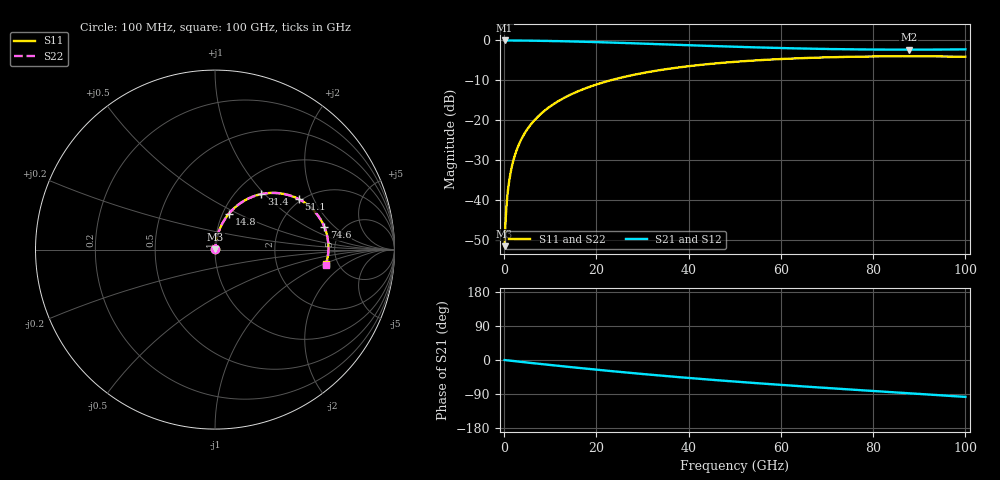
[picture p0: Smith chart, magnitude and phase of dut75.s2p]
! Touchstone file exported from HFSS 2026.1.0
!  File:  C:/ffzhzh/LocalFiles/Ansys_Project_Files/temp_train_RDL_75_1783498704_9504.aedt
!  Generated:  04:19:38 PM Jul  8, 2026
!  Design:  RDL
!  Project:  temp_train_RDL_75_1783498704_9504
! Variables:
!  h_bsmrdl = 2um
!  h_ox = 20um
!  h_rdl = 5um
!  h_sub = 80um
!  h_tmrdl = 4.55um
!  h_tsv = 80um
!  h_via = 3um
!  l_bsmrdl = 300um
!  l_sub = 729.2um
!  l_tmrdl = 329.2um
!  m_sub = 200um
!  pitch = 41.23um
!  r_tsv = 6um
!  s_tmrdl = 10um
!  w_bsmrdl = 18um
!  w_sub = 500um
!  w_tmrdl = 13.01um
!  x_tsv_center1 = 335.705um
!  x_tsv_center2 = 653.705um
!  x_tsv_center3 = 995.915um
!  x_tsv_center4 = 1313.915um
!  x_tsv_center5 = 1656.125um
!  x_tsv_center6 = 1974.125um
# GHz S MA R 50.000000
! Terminal data exported
! Port[1] = TM_RDL1_1_T1
! Port[2] = TM_RDL1_1_T2
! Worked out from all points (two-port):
!   1000 points, 100 MHz to 100 GHz, reference 50 ohm
!   highest |S21| = -0.02 dB at 100 MHz (marker M1); lowest = -2.3 dB at 87.7 GHz (marker M2)
!   |S21| within 3 dB of the highest: start of sweep to end of sweep
!   lowest |S11| = -51.6 dB at 100 MHz (marker M3), VSWR 1.01, Z = 50.2 + j0.164 ohm
!   |S11| at or under -10 dB: start of sweep to 23.1 GHz
!   |S22| runs from -51.6 to -4.0 dB; largest |S21 - S12| = 3.6e-15
!   S11 on the Smith chart (normalised r, x): 100 MHz: 1.00, +0.00; 14.8 GHz: 1.07, +0.45; 31.4 GHz: 1.30, +0.96; 51.1 GHz: 1.93, +1.55; 74.6 GHz: 3.62, +1.50; 100 GHz: 3.99, -1.08
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0.1  0.002635 38.3  0.9979 -0.1  0.9979 -0.1  0.002635 38.3
! Gamma 0 0 0 0
! Port Impedance 50 0 50 0
0.4  0.006782 70.3  0.9978 -0.6  0.9978 -0.6  0.006782 70.3
0.8  0.01284 78.3  0.9976 -1.1  0.9976 -1.1  0.01284 78.3
1.1  0.01744 80.5  0.9974 -1.5  0.9974 -1.5  0.01744 80.5
1.4  0.02206 81.5  0.9972 -1.9  0.9972 -1.9  0.02206 81.5
2.3  0.0359 82.4  0.9965 -3.1  0.9965 -3.1  0.0359 82.4
3.6  0.05573 81.7  0.9951 -4.8  0.9951 -4.8  0.05573 81.7
5.5  0.08416 79.8  0.9922 -7.3  0.9922 -7.3  0.08416 79.8
7.9  0.1191 77.0  0.9876 -10.5  0.9876 -10.5  0.1191 77.0
11  0.1629 73.3  0.9802 -14.4  0.9802 -14.4  0.1629 73.3
14.8  0.2142 68.8  0.9694 -19.2  0.9694 -19.2  0.2142 68.8
16.8  0.2401 66.5  0.9629 -21.6  0.9629 -21.6  0.2401 66.5
23.4  0.3196 58.9  0.9386 -29.5  0.9386 -29.5  0.3196 58.9
31.4  0.4025 50.2  0.9057 -38.5  0.9057 -38.5  0.4025 50.2
33.4  0.4208 48.1  0.8973 -40.6  0.8973 -40.6  0.4208 48.1
50.1  0.5393 32.0  0.8319 -57.0  0.8319 -57.0  0.5393 31.9
51.1  0.5446 31.1  0.8285 -57.9  0.8285 -57.9  0.5446 31.1
66.7  0.6052 18.0  0.7862 -71.2  0.7862 -71.2  0.6052 17.9
74.6  0.622 11.8  0.7732 -77.5  0.7732 -77.5  0.6221 11.7
83.4  0.6313 5.1  0.7658 -84.4  0.7658 -84.4  0.6314 4.9
87.7  0.6324 1.8  0.7649 -87.7  0.7649 -87.7  0.6325 1.6
100  0.6229 -7.6  0.7723 -97.3  0.7723 -97.3  0.623 -7.8
